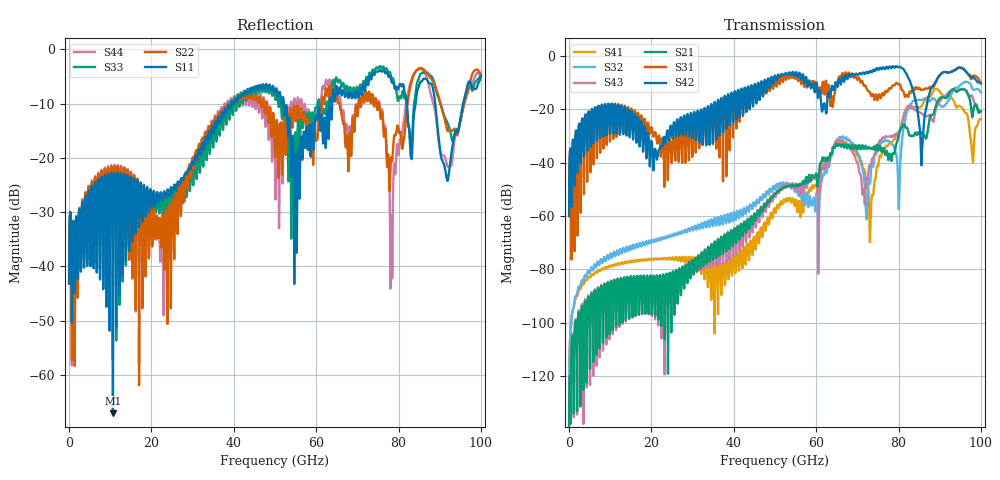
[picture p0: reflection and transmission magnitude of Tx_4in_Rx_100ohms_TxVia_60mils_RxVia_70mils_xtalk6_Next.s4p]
! Info: Touchstone file created by Circ.  Input file=Tx_4in_Rx_100ohms_TxVia_60mils_RxVia_70mils.circ
# Hz S RI R 50
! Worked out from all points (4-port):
!   10000 points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, 10 MHz to 100 GHz, reference 50 ohm
!   strongest paths, dB at 10 MHz, 25.01 GHz, 50.01 GHz, 75.01 GHz, 100 GHz:
!     S42: -60.0, -30.2, -7.4, -5.2, -10.1
!     S31: -60.0, -36.4, -8.8, -16.0, -10.5
!     S21: -139.3, -83.7, -51.9, -35.2, -20.7
!     S43: -137.3, -83.0, -52.1, -33.9, -20.9
!     S32: -130.3, -66.9, -50.1, -33.9, -13.7
!     S41: -130.3, -75.7, -58.1, -41.5, -23.6
!   lowest |S11| = -67.1 dB at 10.65 GHz (marker M1), VSWR 1.00, Z = 50 - j0.0343 ohm
!   |S11| at or under -10 dB: start of sweep to 39.43 GHz; 52.15 GHz to 63.28 GHz (11.13 GHz wide, 19.3 % of centre); 88.91 GHz to 95.7 GHz (6.798 GHz wide, 7.36 % of centre) (the widest 3 of 7)
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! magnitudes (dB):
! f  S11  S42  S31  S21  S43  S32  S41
! 10 MHz  -43.1  -60.0  -60.0  -139.3  -137.3  -130.3  -130.3
! 10.65 GHz  -67.1  -25.1  -26.2  -98.2  -99.4  -74.6  -78.6
! 62.88 GHz  -13.8  -14.1  -13.0  -38.3  -39.3  -40.7  -38.7
! 73.26 GHz  -5.3  -5.8  -14.6  -34.5  -41.0  -43.8  -60.0
! 78.27 GHz  -5.9  -4.7  -12.0  -39.4  -30.5  -32.8  -32.7
! 85.61 GHz  -5.9  -39.4  -12.8  -28.7  -21.6  -16.6  -18.8
! 100 GHz  -4.9  -10.1  -10.5  -20.7  -20.9  -13.7  -23.6
